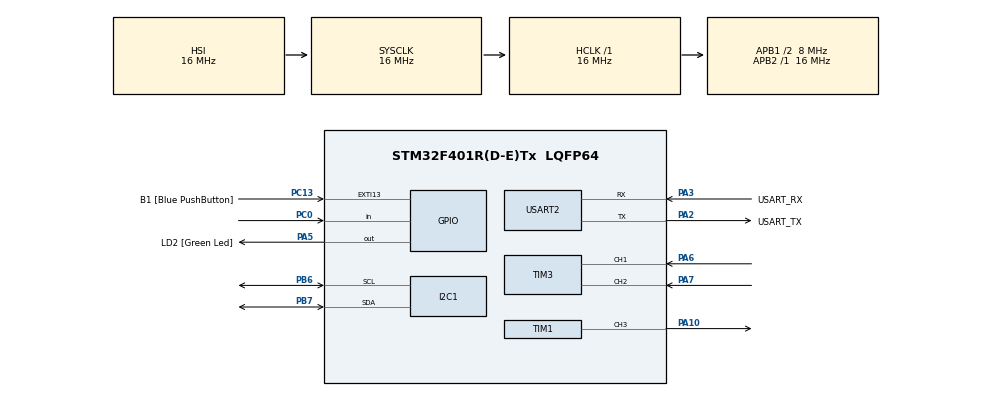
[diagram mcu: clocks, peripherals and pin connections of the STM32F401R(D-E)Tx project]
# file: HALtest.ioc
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FREERTOS.Tasks01=defaultTask,24,128,StartDefaultTask,Default,NULL,Dynamic,NULL,NULL
Mcu.Family=STM32F4
Mcu.Name=STM32F401R(D-E)Tx
Mcu.Package=LQFP64
NVIC.PriorityGroup=NVIC_PRIORITYGROUP_4
NVIC.TIM1_TRG_COM_TIM11_IRQn=true\:15\:0\:false\:false\:true\:false\:false\:true\:true
NVIC.TimeBase=TIM1_TRG_COM_TIM11_IRQn
NVIC.TimeBaseIP=TIM11
PA10.Signal=S_TIM1_CH3
PA13.GPIO_Label=TMS
PA13.Mode=Trace_Asynchronous_SW
PA13.Signal=SYS_JTMS-SWDIO
PA14.GPIO_Label=TCK
PA14.Mode=Trace_Asynchronous_SW
PA14.Signal=SYS_JTCK-SWCLK
PA2.GPIO_Label=USART_TX
PA2.GPIO_Mode=GPIO_MODE_AF_PP
PA2.GPIO_PuPd=GPIO_NOPULL
PA2.GPIO_Speed=GPIO_SPEED_FREQ_LOW
PA2.Mode=Asynchronous
PA2.Signal=USART2_TX
PA3.GPIO_Label=USART_RX
PA3.GPIO_Mode=GPIO_MODE_AF_PP
PA3.GPIO_PuPd=GPIO_NOPULL
PA3.GPIO_Speed=GPIO_SPEED_FREQ_LOW
PA3.Mode=Asynchronous
PA3.Signal=USART2_RX
PA5.GPIO_Label=LD2 [Green Led]
PA5.GPIO_Mode=GPIO_MODE_OUTPUT_PP
PA5.GPIO_PuPd=GPIO_NOPULL
PA5.GPIO_Speed=GPIO_SPEED_FREQ_LOW
PA5.Signal=GPIO_Output
PA6.Signal=S_TIM3_CH1
PA7.Signal=S_TIM3_CH2
PB3.GPIO_Label=SWO
PB3.Mode=Trace_Asynchronous_SW
PB3.Signal=SYS_JTDO-SWO
PB6.Mode=I2C
PB6.Signal=I2C1_SCL
PB7.Mode=I2C
PB7.Signal=I2C1_SDA
PC0.Signal=GPIO_Input
PC13-ANTI_TAMP.GPIO_Label=B1 [Blue PushButton]
PC13-ANTI_TAMP.GPIO_ModeDefaultEXTI=GPIO_MODE_IT_FALLING
PC13-ANTI_TAMP.GPIO_PuPd=GPIO_NOPULL
PC13-ANTI_TAMP.Signal=GPXTI13
PC14-OSC32_IN.Mode=LSE-External-Oscillator
PC14-OSC32_IN.Signal=RCC_OSC32_IN
PC15-OSC32_OUT.Mode=LSE-External-Oscillator
PC15-OSC32_OUT.Signal=RCC_OSC32_OUT
PH0\ -\ OSC_IN.Mode=HSE-External-Clock-Source
PH0\ -\ OSC_IN.Signal=RCC_OSC_IN
PH1\ -\ OSC_OUT.Mode=HSE-External-Clock-Source
PH1\ -\ OSC_OUT.Signal=RCC_OSC_OUT
ProjectManager.HeapSize=0x200
ProjectManager.StackSize=0x400
ProjectManager.TargetToolchain=CMake
RCC.48MHZClocksFreq_Value=48000000
RCC.AHBFreq_Value=16000000
RCC.APB1CLKDivider=RCC_HCLK_DIV2
RCC.APB1Freq_Value=8000000
RCC.APB1TimFreq_Value=16000000
RCC.APB2Freq_Value=16000000
RCC.APB2TimFreq_Value=16000000
RCC.CortexFreq_Value=16000000
RCC.HCLKFreq_Value=16000000
RCC.HSE_VALUE=8000000
RCC.HSI_VALUE=16000000
RCC.PLLN=336
RCC.PLLP=RCC_PLLP_DIV4
RCC.PLLQ=7
RCC.SYSCLKFreq_VALUE=16000000
RCC.VCOOutputFreq_Value=336000000
SH.S_TIM1_CH3.0=TIM1_CH3,PWM Generation3 CH3
SH.S_TIM3_CH1.0=TIM3_CH1,Encoder_Interface
SH.S_TIM3_CH2.0=TIM3_CH2,Encoder_Interface
TIM1.Channel-PWM\ Generation3\ CH3=TIM_CHANNEL_3
TIM1.Period=999
TIM1.Prescaler=83
TIM1.Pulse-PWM\ Generation3\ CH3=500
TIM3.EncoderMode=TIM_ENCODERMODE_TI12
USART2.VirtualMode=VM_ASYNC
VP_FREERTOS_VS_CMSIS_V2.Mode=CMSIS_V2
VP_SYS_VS_tim11.Mode=TIM11
VP_TIM1_VS_ClockSourceINT.Mode=Internal
board=NUCLEO-F401RE

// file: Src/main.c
/* USER CODE BEGIN Header */
/**
  ******************************************************************************
  * @file           : main.c
  * @brief          : Main program body
  ******************************************************************************
  * @attention
  *
  * Copyright (c) 2025 STMicroelectronics.
  * All rights reserved.
  *
  * This software is licensed under terms that can be found in the LICENSE file
  * in the root directory of this software component.
  * If no LICENSE file comes with this software, it is provided AS-IS.
  *
  ******************************************************************************
  */
/* USER CODE END Header */
#include "main.h"
#include "cmsis_os.h"

/* USER CODE BEGIN Includes */
#include "ApplicationDefine.h"
/* USER CODE END Includes */

I2C_HandleTypeDef hi2c1;

TIM_HandleTypeDef htim1;
TIM_HandleTypeDef htim3;

UART_HandleTypeDef huart2;

/* Definitions for defaultTask */
osThreadId_t defaultTaskHandle;
const osThreadAttr_t defaultTask_attributes = {
  .name = "defaultTask",
  .stack_size = 128 * 4,
  .priority = (osPriority_t) osPriorityNormal,
};

void SystemClock_Config(void);
static void MX_GPIO_Init(void);
static void MX_USART2_UART_Init(void);
static void MX_I2C1_Init(void);
static void MX_TIM1_Init(void);
static void MX_TIM3_Init(void);
void StartDefaultTask(void *argument);

int main(void)
{

  /* MCU Configuration--------------------------------------------------------*/

  /* Reset of all peripherals, Initializes the Flash interface and the Systick. */
  HAL_Init();

  /* Configure the system clock */
  SystemClock_Config();

  /* Initialize all configured peripherals */
  MX_GPIO_Init();
  MX_USART2_UART_Init();
  MX_I2C1_Init();
  MX_TIM1_Init();
  MX_TIM3_Init();
  /* USER CODE BEGIN 2 */
  HAL_TIM_Encoder_Start(&htim3, TIM_CHANNEL_ALL); // avvia contatore encoder
  /* USER CODE END 2 */

  /* Init scheduler */
  osKernelInitialize();

  /* Create the thread(s) */
  /* creation of defaultTask */
  //defaultTaskHandle = osThreadNew(StartDefaultTask, NULL, &defaultTask_attributes );
  //blinkTaskHandle =   osThreadNew(BlinkTask       , NULL, &blinkTask_attributes   );

  /* USER CODE BEGIN RTOS_THREADS */
  /* add threads, ... */
  ApplicationDefine(); // definizione dei task dell'applicazione
  /* USER CODE END RTOS_THREADS */

  /* Start scheduler */
  osKernelStart();

  /* We should never get here as control is now taken by the scheduler */

  /* Infinite loop */
  while (1)
  {

  }
}

void SystemClock_Config(void)
{
  RCC_OscInitTypeDef RCC_OscInitStruct = {0};
  RCC_ClkInitTypeDef RCC_ClkInitStruct = {0};

  /** Configure the main internal regulator output voltage
  */
  __HAL_RCC_PWR_CLK_ENABLE();
  __HAL_PWR_VOLTAGESCALING_CONFIG(PWR_REGULATOR_VOLTAGE_SCALE2);

  /** Initializes the RCC Oscillators according to the specified parameters
  * in the RCC_OscInitTypeDef structure.
  */
  RCC_OscInitStruct.OscillatorType = RCC_OSCILLATORTYPE_HSI;
  RCC_OscInitStruct.HSIState = RCC_HSI_ON;
  RCC_OscInitStruct.HSICalibrationValue = RCC_HSICALIBRATION_DEFAULT;
  RCC_OscInitStruct.PLL.PLLState = RCC_PLL_NONE;
  if (HAL_RCC_OscConfig(&RCC_OscInitStruct) != HAL_OK)
  {
    Error_Handler();
  }

  /** Initializes the CPU, AHB and APB buses clocks
  */
  RCC_ClkInitStruct.ClockType = RCC_CLOCKTYPE_HCLK|RCC_CLOCKTYPE_SYSCLK
                              |RCC_CLOCKTYPE_PCLK1|RCC_CLOCKTYPE_PCLK2;
  RCC_ClkInitStruct.SYSCLKSource = RCC_SYSCLKSOURCE_HSI;
  RCC_ClkInitStruct.AHBCLKDivider = RCC_SYSCLK_DIV1;
  RCC_ClkInitStruct.APB1CLKDivider = RCC_HCLK_DIV2;
  RCC_ClkInitStruct.APB2CLKDivider = RCC_HCLK_DIV1;

  if (HAL_RCC_ClockConfig(&RCC_ClkInitStruct, FLASH_LATENCY_0) != HAL_OK)
  {
    Error_Handler();
  }
}

static void MX_I2C1_Init(void)
{

  hi2c1.Instance = I2C1;
  hi2c1.Init.ClockSpeed = 100000;
  hi2c1.Init.DutyCycle = I2C_DUTYCYCLE_2;
  hi2c1.Init.OwnAddress1 = 0;
  hi2c1.Init.AddressingMode = I2C_ADDRESSINGMODE_7BIT;
  hi2c1.Init.DualAddressMode = I2C_DUALADDRESS_DISABLE;
  hi2c1.Init.OwnAddress2 = 0;
  hi2c1.Init.GeneralCallMode = I2C_GENERALCALL_DISABLE;
  hi2c1.Init.NoStretchMode = I2C_NOSTRETCH_DISABLE;
  if (HAL_I2C_Init(&hi2c1) != HAL_OK)
  {
    Error_Handler();
  }

}

static void MX_TIM1_Init(void)
{

  TIM_ClockConfigTypeDef sClockSourceConfig = {0};
  TIM_MasterConfigTypeDef sMasterConfig = {0};
  TIM_OC_InitTypeDef sConfigOC = {0};
  TIM_BreakDeadTimeConfigTypeDef sBreakDeadTimeConfig = {0};

  htim1.Instance = TIM1;
  htim1.Init.Prescaler = 83;
  htim1.Init.CounterMode = TIM_COUNTERMODE_UP;
  htim1.Init.Period = 999;
  htim1.Init.ClockDivision = TIM_CLOCKDIVISION_DIV1;
  htim1.Init.RepetitionCounter = 0;
  htim1.Init.AutoReloadPreload = TIM_AUTORELOAD_PRELOAD_DISABLE;
  if (HAL_TIM_Base_Init(&htim1) != HAL_OK)
  {
    Error_Handler();
  }
  sClockSourceConfig.ClockSource = TIM_CLOCKSOURCE_INTERNAL;
  if (HAL_TIM_ConfigClockSource(&htim1, &sClockSourceConfig) != HAL_OK)
  {
    Error_Handler();
  }
  if (HAL_TIM_PWM_Init(&htim1) != HAL_OK)
  {
    Error_Handler();
  }
  sMasterConfig.MasterOutputTrigger = TIM_TRGO_RESET;
  sMasterConfig.MasterSlaveMode = TIM_MASTERSLAVEMODE_DISABLE;
  if (HAL_TIMEx_MasterConfigSynchronization(&htim1, &sMasterConfig) != HAL_OK)
  {
    Error_Handler();
  }
  sConfigOC.OCMode = TIM_OCMODE_PWM1;
  sConfigOC.Pulse = 500;
  sConfigOC.OCPolarity = TIM_OCPOLARITY_HIGH;
  sConfigOC.OCNPolarity = TIM_OCNPOLARITY_HIGH;
  sConfigOC.OCFastMode = TIM_OCFAST_DISABLE;
  sConfigOC.OCIdleState = TIM_OCIDLESTATE_RESET;
  sConfigOC.OCNIdleState = TIM_OCNIDLESTATE_RESET;
  if (HAL_TIM_PWM_ConfigChannel(&htim1, &sConfigOC, TIM_CHANNEL_3) != HAL_OK)
  {
    Error_Handler();
  }
  sBreakDeadTimeConfig.OffStateRunMode = TIM_OSSR_DISABLE;
  sBreakDeadTimeConfig.OffStateIDLEMode = TIM_OSSI_DISABLE;
  sBreakDeadTimeConfig.LockLevel = TIM_LOCKLEVEL_OFF;
  sBreakDeadTimeConfig.DeadTime = 0;
  sBreakDeadTimeConfig.BreakState = TIM_BREAK_DISABLE;
  sBreakDeadTimeConfig.BreakPolarity = TIM_BREAKPOLARITY_HIGH;
  sBreakDeadTimeConfig.AutomaticOutput = TIM_AUTOMATICOUTPUT_DISABLE;
  if (HAL_TIMEx_ConfigBreakDeadTime(&htim1, &sBreakDeadTimeConfig) != HAL_OK)
  {
    Error_Handler();
  }
  HAL_TIM_MspPostInit(&htim1);

}

static void MX_TIM3_Init(void)
{

  TIM_Encoder_InitTypeDef sConfig = {0};
  TIM_MasterConfigTypeDef sMasterConfig = {0};

  htim3.Instance = TIM3;
  htim3.Init.Prescaler = 0;
  htim3.Init.CounterMode = TIM_COUNTERMODE_UP;
  htim3.Init.Period = 65535;
  htim3.Init.ClockDivision = TIM_CLOCKDIVISION_DIV1;
  htim3.Init.AutoReloadPreload = TIM_AUTORELOAD_PRELOAD_DISABLE;
  sConfig.EncoderMode = TIM_ENCODERMODE_TI12;
  sConfig.IC1Polarity = TIM_ICPOLARITY_RISING;
  sConfig.IC1Selection = TIM_ICSELECTION_DIRECTTI;
  sConfig.IC1Prescaler = TIM_ICPSC_DIV1;
  sConfig.IC1Filter = 0;
  sConfig.IC2Polarity = TIM_ICPOLARITY_RISING;
  sConfig.IC2Selection = TIM_ICSELECTION_DIRECTTI;
  sConfig.IC2Prescaler = TIM_ICPSC_DIV1;
  sConfig.IC2Filter = 0;
  if (HAL_TIM_Encoder_Init(&htim3, &sConfig) != HAL_OK)
  {
    Error_Handler();
  }
  sMasterConfig.MasterOutputTrigger = TIM_TRGO_RESET;
  sMasterConfig.MasterSlaveMode = TIM_MASTERSLAVEMODE_DISABLE;
  if (HAL_TIMEx_MasterConfigSynchronization(&htim3, &sMasterConfig) != HAL_OK)
  {
    Error_Handler();
  }

}

static void MX_USART2_UART_Init(void)
{

  huart2.Instance = USART2;
  huart2.Init.BaudRate = 115200;
  huart2.Init.WordLength = UART_WORDLENGTH_8B;
  huart2.Init.StopBits = UART_STOPBITS_1;
  huart2.Init.Parity = UART_PARITY_NONE;
  huart2.Init.Mode = UART_MODE_TX_RX;
  huart2.Init.HwFlowCtl = UART_HWCONTROL_NONE;
  huart2.Init.OverSampling = UART_OVERSAMPLING_16;
  if (HAL_UART_Init(&huart2) != HAL_OK)
  {
    Error_Handler();
  }

}

static void MX_GPIO_Init(void)
{
  GPIO_InitTypeDef GPIO_InitStruct = {0};

  /* GPIO Ports Clock Enable */
  __HAL_RCC_GPIOC_CLK_ENABLE();
  __HAL_RCC_GPIOH_CLK_ENABLE();
  __HAL_RCC_GPIOA_CLK_ENABLE();
  __HAL_RCC_GPIOB_CLK_ENABLE();

  /*Configure GPIO pin Output Level */
  HAL_GPIO_WritePin(LD2_GPIO_Port, LD2_Pin, GPIO_PIN_RESET);

  /*Configure GPIO pin : B1_Pin */
  GPIO_InitStruct.Pin = B1_Pin;
  GPIO_InitStruct.Mode = GPIO_MODE_IT_FALLING;
  GPIO_InitStruct.Pull = GPIO_NOPULL;
  HAL_GPIO_Init(B1_GPIO_Port, &GPIO_InitStruct);

  /*Configure GPIO pin : PC0 */
  GPIO_InitStruct.Pin = GPIO_PIN_0;
  GPIO_InitStruct.Mode = GPIO_MODE_INPUT;
  GPIO_InitStruct.Pull = GPIO_NOPULL;
  HAL_GPIO_Init(GPIOC, &GPIO_InitStruct);

  /*Configure GPIO pin : LD2_Pin */
  GPIO_InitStruct.Pin = LD2_Pin;
  GPIO_InitStruct.Mode = GPIO_MODE_OUTPUT_PP;
  GPIO_InitStruct.Pull = GPIO_NOPULL;
  GPIO_InitStruct.Speed = GPIO_SPEED_FREQ_LOW;
  HAL_GPIO_Init(LD2_GPIO_Port, &GPIO_InitStruct);

}

/* USER CODE BEGIN 4 */
void set_duty(int16_t duty_percent)
{
    extern TIM_HandleTypeDef htim1;
    uint32_t arr = __HAL_TIM_GET_AUTORELOAD(&htim1);
    uint32_t duty = arr * duty_percent / 100;
    __HAL_TIM_SET_COMPARE(&htim1, TIM_CHANNEL_3, duty);
}
void start_pwm(int8_t start)
{
  if(start == 1)
  {
    extern TIM_HandleTypeDef htim1;
    HAL_TIM_PWM_Start(&htim1, TIM_CHANNEL_3);
  }
  else
  {
    extern TIM_HandleTypeDef htim1;
    HAL_TIM_PWM_Stop(&htim1, TIM_CHANNEL_3);
  }
}

/* USER CODE END 4 */

void StartDefaultTask(void *argument)
{
  /* USER CODE BEGIN 5 */
  /* Infinite loop */
  // for(;;)
  // {
  //   osDelay(1);
  // }
  /* USER CODE END 5 */
}

void HAL_TIM_PeriodElapsedCallback(TIM_HandleTypeDef *htim)
{
  if (htim->Instance == TIM11)
  {
    HAL_IncTick();
  }
}

void Error_Handler(void)
{
  /* USER CODE BEGIN Error_Handler_Debug */
  /* User can add his own implementation to report the HAL error return state */
  __disable_irq();
  while (1)
  {
      HAL_GPIO_TogglePin(GPIOA, GPIO_PIN_5);
      HAL_Delay(100);
  }
  /* USER CODE END Error_Handler_Debug */
}
